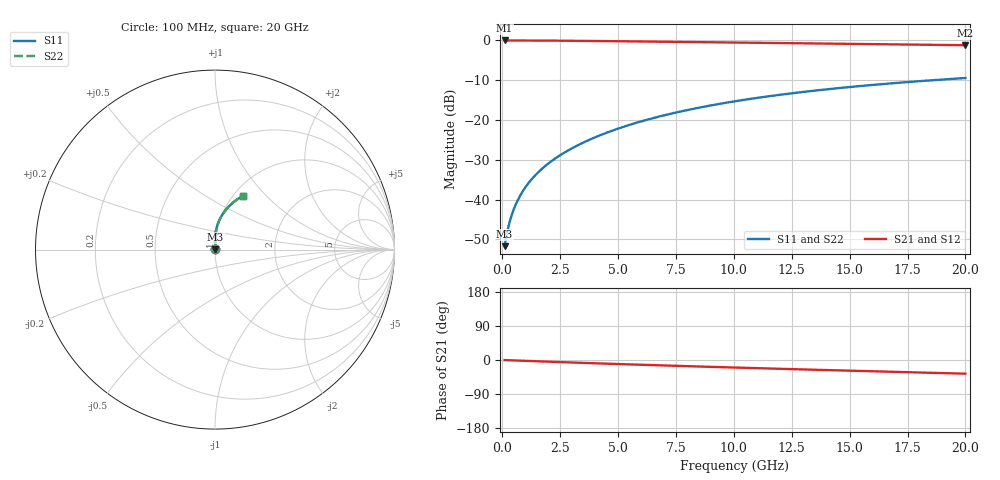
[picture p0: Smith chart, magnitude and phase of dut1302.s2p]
! Touchstone file exported from HFSS 2024.1.0
!  File:  C:/UserFiles/LocalFiles/RDL_TSV_Batchsim/temp_RDL_top_1302_1780364334.aedt
!  Generated:  09:41:46 AM Jun  2, 2026
!  Design:  RDL_top
!  Project:  temp_RDL_top_1302_1780364334
!  Setup:  Setup1
!  Solution:  Sweep
! Variables:
!  dtsv = 10.80580581um
!  hbump = 3um
!  htsv = 56.92um
!  ldown = 100um
!  lrdl = 490.31um
!  p = 40
!  p1 = 59.9um
!  rhole = 1um
!  t = 450um
!  tdown = 3.915915916um
!  trdl = 3.43um
!  wdown = 15.38538539um
!  wrdl = 27.87um
# GHz S MA R 50.000000
! Terminal data exported
! Port[1] = Box2_T1
! Port[2] = Box2_T2
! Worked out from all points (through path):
!   200 points, 100 MHz to 20 GHz, reference 50 ohm
!   highest |S21| = -0.02 dB at 100 MHz (marker M1); lowest = -1.2 dB at 20 GHz (marker M2)
!   group delay of S21, straight-line fit = 4.93 ps
!   lowest |S11| = -51.7 dB at 100 MHz (marker M3), VSWR 1.01, Z = 50.2 + j0.157 ohm
!   |S11| at or under -10 dB: start of sweep to 18.61 GHz
!   |S22| runs from -51.7 to -9.5 dB; largest |S21 - S12| = 3.4e-15
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0.1  0.002591 37.2  0.9979 -0.2  0.9979 -0.2  0.002591 37.2
! Gamma 0 0 0 0
! Port Impedance 50 0 50 0
0.2  0.003753 54.5  0.9978 -0.5  0.9978 -0.5  0.003752 54.5
0.3  0.005019 62.9  0.9976 -0.7  0.9976 -0.7  0.005018 62.9
0.4  0.006301 68.0  0.9974 -0.9  0.9974 -0.9  0.0063 68.0
0.5  0.007594 71.6  0.9972 -1.1  0.9972 -1.1  0.007594 71.6
0.6  0.008901 74.3  0.997 -1.4  0.997 -1.4  0.008901 74.3
0.8  0.01156 78.1  0.9967 -1.8  0.9967 -1.8  0.01156 78.1
1.1  0.01565 81.7  0.996 -2.5  0.996 -2.5  0.01565 81.7
1.3  0.01843 83.3  0.9955 -2.9  0.9955 -2.9  0.01843 83.4
1.6  0.02269 85.1  0.9946 -3.6  0.9946 -3.6  0.02269 85.1
2.1  0.03 87.1  0.9927 -4.7  0.9927 -4.7  0.03001 87.1
2.7  0.03916 88.4  0.9899 -6.0  0.9899 -6.0  0.03916 88.4
3.5  0.052 89.2  0.9855 -7.7  0.9855 -7.7  0.052 89.3
4.2  0.06379 89.3  0.9812 -9.1  0.9812 -9.1  0.0638 89.4
5  0.07782 88.9  0.9758 -10.7  0.9758 -10.7  0.07783 89.0
5.9  0.09412 88.0  0.9695 -12.4  0.9695 -12.4  0.09414 88.0
6.8  0.1108 86.8  0.963 -14.1  0.963 -14.1  0.1108 86.8
8.4  0.1408 84.1  0.9515 -17.0  0.9515 -17.0  0.1409 84.1
10.1  0.1726 80.9  0.9394 -20.0  0.9394 -20.0  0.1727 80.9
13.4  0.232 74.5  0.9161 -25.6  0.9161 -25.6  0.2321 74.5
16.7  0.2868 68.3  0.8928 -30.9  0.8928 -30.9  0.2869 68.3
20  0.3364 62.6  0.8694 -36.1  0.8694 -36.1  0.3365 62.6
